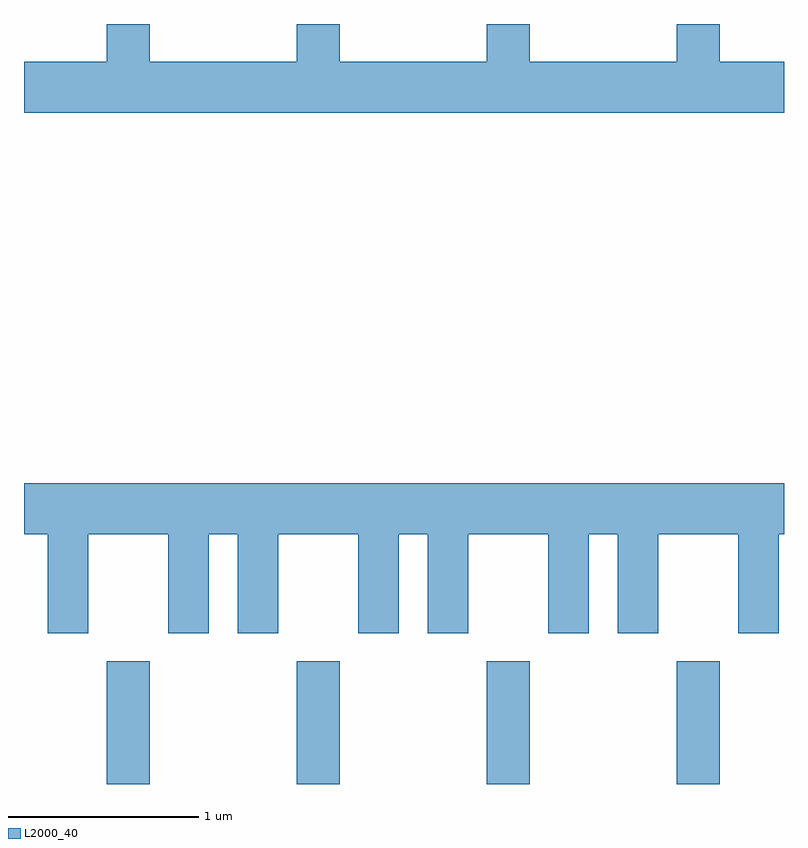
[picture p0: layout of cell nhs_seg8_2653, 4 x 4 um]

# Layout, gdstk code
import gdstk
lib = gdstk.Library(unit=1e-6, precision=1e-09)
def R(c, l, rs):  # rectangles x0, y0, x1, y1
    for r in rs: c.add(gdstk.rectangle(r[:2], r[2:], *l))
def A(c, l, x, y, w, h, nx, ny, dx, dy):  # array of equal rectangles
    R(c, l, [(x+i*dx, y+j*dy, x+i*dx+w, y+j*dy+h) for i in range(nx) for j in range(ny)])
def P(c, l, *ps):  # polygons
    for p in ps: c.add(gdstk.Polygon(p, *l))
L2000_40 = (2000, 40)

nhs_seg8_2653 = lib.new_cell('nhs_seg8_2653')
A(nhs_seg8_2653, L2000_40, 264.046, 1928.342, 0.228, 0.647, 4, 1, 1, 0)
P(nhs_seg8_2653, L2000_40, [(264.046,1932.342),(264.046,1932.144),(263.611,1932.144),(263.611,1931.876),(267.611,1931.876),(267.611,1932.144),(267.274,1932.144),(267.274,1932.342),(267.046,1932.342),(267.046,1932.144),(266.274,1932.144),(266.274,1932.342),(266.046,1932.342),(266.046,1932.144),(265.274,1932.144),(265.274,1932.342),(265.046,1932.342),(265.046,1932.144),(264.274,1932.144),(264.274,1932.342)],
  [(263.949,1929.656),(264.371,1929.656),(264.371,1929.136),(264.584,1929.136),(264.584,1929.656),(264.736,1929.656),(264.736,1929.136),(264.949,1929.136),(264.949,1929.656),(265.371,1929.656),(265.371,1929.136),(265.584,1929.136),(265.584,1929.656),(265.736,1929.656),(265.736,1929.136),(265.949,1929.136),(265.949,1929.656),(266.371,1929.656),(266.371,1929.136),(266.584,1929.136),(266.584,1929.656),(266.736,1929.656),(266.736,1929.136),(266.949,1929.136),(266.949,1929.656),(267.371,1929.656),(267.371,1929.136),(267.584,1929.136),(267.584,1929.656),(267.611,1929.656),(267.611,1929.924),(263.611,1929.924),(263.611,1929.656),(263.736,1929.656),(263.736,1929.136),(263.949,1929.136)])

lib.write_gds('nhs_seg8_2653.gds')
